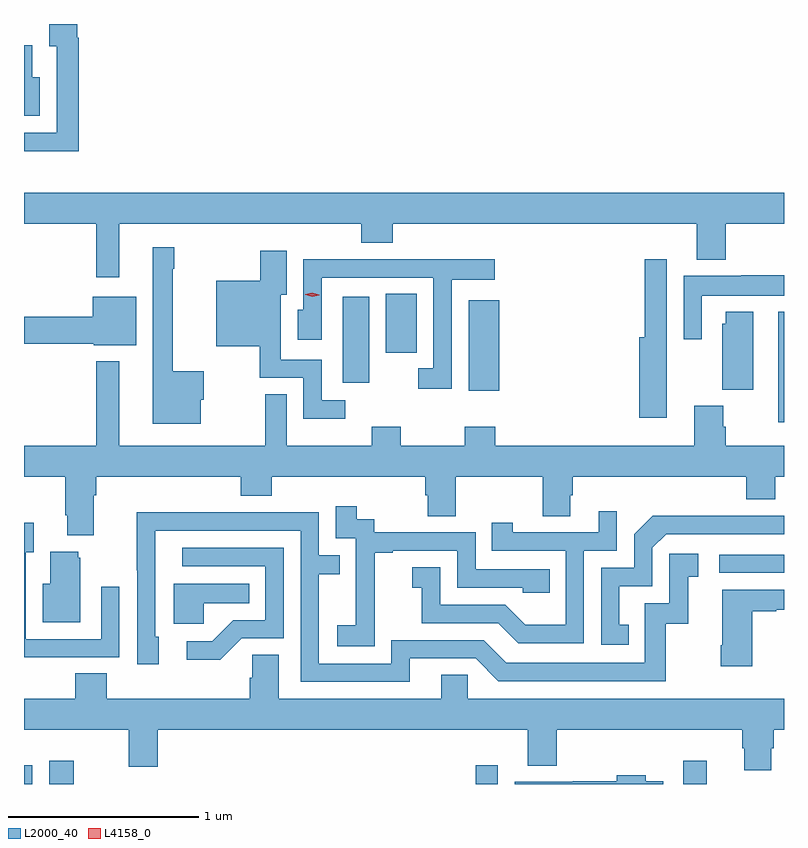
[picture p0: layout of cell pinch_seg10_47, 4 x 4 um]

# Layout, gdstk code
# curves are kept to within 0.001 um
import gdstk
lib = gdstk.Library(unit=1e-6, precision=1e-09)
def R(c, l, rs):  # rectangles x0, y0, x1, y1
    for r in rs: c.add(gdstk.rectangle(r[:2], r[2:], *l))
def P(c, l, *ps):  # polygons
    for p in ps: c.add(gdstk.Polygon(p, *l))
L2000_40 = (2000, 40)
L4158_0 = (4158, 0)

pinch_seg10_47 = lib.new_cell('pinch_seg10_47')
R(pinch_seg10_47, L2000_40, [(863.411,1304.027,863.455,1304.125), (863.543,1304.027,863.674,1304.149), (865.789,1304.027,865.905,1304.125), (866.882,1304.027,867.004,1304.149), (867.069,1305.138,867.411,1305.234), (867.38,1305.932,867.411,1306.513), (865.751,1306.098,865.912,1306.573), (865.088,1306.14,865.228,1306.591), (865.316,1306.296,865.477,1306.607)])
P(pinch_seg10_47, L2000_40, [(863.699,1307.954),(863.692,1307.954),(863.692,1308.027),(863.543,1308.027),(863.543,1307.911),(863.583,1307.911),(863.583,1307.454),(863.411,1307.454),(863.411,1307.357),(863.699,1307.357)],
  [(863.494,1307.746),(863.455,1307.746),(863.455,1307.914),(863.411,1307.914),(863.411,1307.543),(863.494,1307.543)],
  [(863.911,1306.976),(865.187,1306.976),(865.187,1306.877),(865.352,1306.877),(865.352,1306.976),(866.951,1306.976),(866.951,1306.787),(867.104,1306.787),(867.104,1306.976),(867.411,1306.976),(867.411,1307.14),(863.411,1307.14),(863.411,1306.976),(863.79,1306.976),(863.79,1306.695),(863.911,1306.695)],
  [(864.34,1306.05),(864.358,1306.05),(864.358,1306.199),(864.193,1306.199),(864.193,1306.739),(864.203,1306.739),(864.203,1306.852),(864.089,1306.852),(864.089,1305.923),(864.34,1305.923)],
  [(865.102,1306.047),(864.978,1306.047),(864.978,1306.26),(864.763,1306.26),(864.763,1306.601),(864.793,1306.601),(864.793,1306.834),(864.655,1306.834),(864.655,1306.675),(864.422,1306.675),(864.422,1306.331),(864.652,1306.331),(864.652,1306.164),(864.882,1306.164),(864.882,1305.95),(865.102,1305.95)],
  [(865.662,1306.682),(865.888,1306.682),(865.888,1306.79),(865.469,1306.79),(865.469,1306.788),(865.103,1306.788),(865.103,1306.79),(864.882,1306.79),(864.882,1306.524),(864.851,1306.524),(864.851,1306.365),(864.978,1306.365),(864.978,1306.692),(865.566,1306.692),(865.566,1306.215),(865.485,1306.215),(865.485,1306.107),(865.662,1306.107)],
  [(866.794,1306.274),(866.793,1306.274),(866.793,1306.789),(866.677,1306.789),(866.677,1306.378),(866.648,1306.378),(866.648,1305.954),(866.794,1305.954)],
  [(866.979,1306.598),(867.411,1306.598),(867.411,1306.705),(867.187,1306.705),(867.187,1306.702),(866.883,1306.702),(866.883,1306.368),(866.979,1306.368)],
  [(864.001,1306.591),(863.774,1306.591),(863.774,1306.485),(863.411,1306.485),(863.411,1306.343),(863.778,1306.343),(863.778,1306.337),(864.001,1306.337)],
  [(867.25,1306.513),(867.104,1306.513),(867.104,1306.449),(867.086,1306.449),(867.086,1306.102),(867.25,1306.102)],
  [(863.779,1305.548),(863.792,1305.548),(863.792,1305.644),(864.551,1305.644),(864.551,1305.545),(864.716,1305.545),(864.716,1305.644),(865.523,1305.644),(865.523,1305.546),(865.535,1305.546),(865.535,1305.436),(865.683,1305.436),(865.683,1305.644),(866.14,1305.644),(866.14,1305.436),(866.287,1305.436),(866.287,1305.546),(866.3,1305.546),(866.3,1305.644),(867.212,1305.644),(867.212,1305.527),(867.364,1305.527),(867.364,1305.644),(867.411,1305.644),(867.411,1305.808),(867.104,1305.808),(867.104,1305.908),(867.091,1305.908),(867.091,1306.017),(866.939,1306.017),(866.939,1305.808),(865.892,1305.808),(865.892,1305.907),(865.732,1305.907),(865.732,1305.808),(865.395,1305.808),(865.395,1305.907),(865.24,1305.907),(865.24,1305.808),(864.793,1305.808),(864.793,1306.079),(864.682,1306.079),(864.682,1305.808),(863.911,1305.808),(863.911,1306.252),(863.79,1306.252),(863.79,1305.808),(863.411,1305.808),(863.411,1305.644),(863.627,1305.644),(863.627,1305.442),(863.639,1305.442),(863.639,1305.335),(863.779,1305.335)],
  [(865.257,1304.959),(865.256,1304.959),(865.256,1305.243),(865.351,1305.243),(865.351,1305.255),(865.692,1305.255),(865.692,1305.06),(866.037,1305.06),(866.037,1305.033),(866.177,1305.033),(866.177,1305.156),(865.788,1305.156),(865.788,1305.351),(865.254,1305.351),(865.254,1305.42),(865.162,1305.42),(865.162,1305.49),(865.053,1305.49),(865.053,1305.321),(865.158,1305.321),(865.158,1305.092),(865.157,1305.092),(865.157,1304.863),(865.059,1304.863),(865.059,1304.753),(865.257,1304.753)],
  [(866.358,1305.255),(866.532,1305.255),(866.532,1305.463),(866.435,1305.463),(866.435,1305.351),(865.984,1305.351),(865.984,1305.403),(865.873,1305.403),(865.873,1305.255),(866.262,1305.255),(866.262,1304.866),(866.048,1304.866),(865.944,1304.97),(865.602,1304.97),(865.602,1305.169),(865.455,1305.169),(865.455,1305.059),(865.504,1305.059),(865.504,1304.874),(865.907,1304.874),(866.012,1304.769),(866.358,1304.769)],
  [(865.441,1304.688),(865.788,1304.688),(865.908,1304.568),(866.788,1304.568),(866.788,1304.871),(866.906,1304.871),(866.906,1305.117),(866.959,1305.117),(866.959,1305.238),(866.808,1305.238),(866.808,1304.979),(866.679,1304.979),(866.679,1304.664),(865.95,1304.664),(865.83,1304.784),(865.344,1304.784),(865.344,1304.661),(864.963,1304.661),(864.963,1305.13),(865.073,1305.13),(865.073,1305.231),(864.963,1305.231),(864.963,1305.456),(864.467,1305.456),(864.467,1305.458),(864.004,1305.458),(864.004,1305.151),(864.006,1305.151),(864.006,1304.658),(864.121,1304.658),(864.121,1304.802),(864.102,1304.802),(864.103,1305.36),(864.867,1305.36),(864.867,1304.565),(865.441,1304.565)],
  [(866.594,1304.865),(866.545,1304.865),(866.545,1305.069),(866.718,1305.069),(866.718,1305.27),(866.79,1305.342),(867.411,1305.342),(867.411,1305.438),(867.128,1305.438),(867.128,1305.44),(866.72,1305.44),(866.622,1305.342),(866.622,1305.165),(866.448,1305.165),(866.448,1304.76),(866.594,1304.76)],
  [(863.597,1304.694),(863.913,1304.694),(863.913,1305.064),(863.817,1305.064),(863.817,1304.79),(863.421,1304.79),(863.421,1305.247),(863.461,1305.247),(863.461,1305.403),(863.411,1305.403),(863.411,1304.693),(863.597,1304.693)],
  [(864.558,1304.793),(864.777,1304.793),(864.777,1305.27),(864.243,1305.27),(864.243,1305.174),(864.681,1305.174),(864.681,1304.889),(864.512,1304.889),(864.401,1304.778),(864.267,1304.778),(864.267,1304.681),(864.445,1304.681)],
  [(863.707,1305.219),(863.696,1305.219),(863.696,1305.25),(863.549,1305.25),(863.549,1305.082),(863.51,1305.082),(863.51,1304.879),(863.707,1304.879)],
  [(864.357,1304.978),(864.596,1304.978),(864.596,1305.082),(864.2,1305.082),(864.2,1304.87),(864.357,1304.87)],
  [(867.244,1304.935),(867.371,1304.935),(867.371,1304.945),(867.411,1304.945),(867.411,1305.049),(867.086,1305.049),(867.086,1304.758),(867.079,1304.758),(867.079,1304.646),(867.244,1304.646)],
  [(867.343,1304.214),(867.356,1304.214),(867.356,1304.312),(867.411,1304.312),(867.411,1304.476),(865.746,1304.476),(865.746,1304.603),(865.607,1304.603),(865.607,1304.476),(864.751,1304.476),(864.751,1304.708),(864.612,1304.708),(864.612,1304.585),(864.599,1304.585),(864.599,1304.476),(863.846,1304.476),(863.846,1304.609),(863.681,1304.609),(863.681,1304.476),(863.411,1304.476),(863.411,1304.312),(863.963,1304.312),(863.963,1304.118),(864.116,1304.118),(864.116,1304.312),(866.063,1304.312),(866.063,1304.123),(866.216,1304.123),(866.216,1304.312),(867.191,1304.312),(867.191,1304.214),(867.203,1304.214),(867.203,1304.1),(867.343,1304.1)],
  [(866.775,1304.041),(866.683,1304.041),(866.683,1304.074),(866.531,1304.074),(866.531,1304.041),(866.299,1304.041),(866.299,1304.038),(865.995,1304.038),(865.995,1304.027),(866.775,1304.027)])
P(pinch_seg10_47, L4158_0, [(864.927,1306.592),(864.892,1306.603),(864.892,1306.603),(864.892,1306.604),(864.928,1306.612),(864.964,1306.601),(864.964,1306.6),(864.964,1306.6)])

lib.write_gds('pinch_seg10_47.gds')
